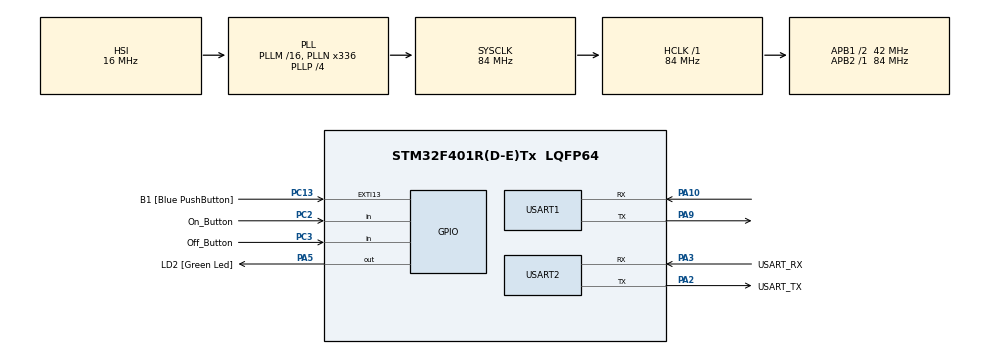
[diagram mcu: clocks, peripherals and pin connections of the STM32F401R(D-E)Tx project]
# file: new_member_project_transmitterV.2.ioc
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Mcu.Family=STM32F4
Mcu.Name=STM32F401R(D-E)Tx
Mcu.Package=LQFP64
NVIC.PriorityGroup=NVIC_PRIORITYGROUP_0
PA10.Mode=Asynchronous
PA10.Signal=USART1_RX
PA13.GPIO_Label=TMS
PA13.Mode=Serial_Wire
PA13.Signal=SYS_JTMS-SWDIO
PA14.GPIO_Label=TCK
PA14.Mode=Serial_Wire
PA14.Signal=SYS_JTCK-SWCLK
PA2.GPIO_Label=USART_TX
PA2.GPIO_Mode=GPIO_MODE_AF_PP
PA2.GPIO_PuPd=GPIO_NOPULL
PA2.GPIO_Speed=GPIO_SPEED_FREQ_LOW
PA2.Mode=Asynchronous
PA2.Signal=USART2_TX
PA3.GPIO_Label=USART_RX
PA3.GPIO_Mode=GPIO_MODE_AF_PP
PA3.GPIO_PuPd=GPIO_NOPULL
PA3.GPIO_Speed=GPIO_SPEED_FREQ_LOW
PA3.Mode=Asynchronous
PA3.Signal=USART2_RX
PA5.GPIO_Label=LD2 [Green Led]
PA5.GPIO_Mode=GPIO_MODE_OUTPUT_PP
PA5.GPIO_PuPd=GPIO_NOPULL
PA5.GPIO_Speed=GPIO_SPEED_FREQ_LOW
PA5.Signal=GPIO_Output
PA9.Mode=Asynchronous
PA9.Signal=USART1_TX
PB3.GPIO_Label=SWO
PB3.Signal=SYS_JTDO-SWO
PC13-ANTI_TAMP.GPIO_Label=B1 [Blue PushButton]
PC13-ANTI_TAMP.GPIO_ModeDefaultEXTI=GPIO_MODE_IT_FALLING
PC13-ANTI_TAMP.GPIO_PuPd=GPIO_NOPULL
PC13-ANTI_TAMP.Signal=GPXTI13
PC14-OSC32_IN.Mode=LSE-External-Oscillator
PC14-OSC32_IN.Signal=RCC_OSC32_IN
PC15-OSC32_OUT.Mode=LSE-External-Oscillator
PC15-OSC32_OUT.Signal=RCC_OSC32_OUT
PC2.GPIO_Label=On_Button
PC2.GPIO_PuPd=GPIO_PULLUP
PC2.Signal=GPIO_Input
PC3.GPIO_Label=Off_Button
PC3.GPIO_PuPd=GPIO_PULLUP
PC3.Signal=GPIO_Input
PH0\ -\ OSC_IN.Mode=HSE-External-Clock-Source
PH0\ -\ OSC_IN.Signal=RCC_OSC_IN
PH1\ -\ OSC_OUT.Mode=HSE-External-Clock-Source
PH1\ -\ OSC_OUT.Signal=RCC_OSC_OUT
ProjectManager.HeapSize=0x200
ProjectManager.StackSize=0x400
ProjectManager.TargetToolchain=STM32CubeIDE
RCC.48MHZClocksFreq_Value=48000000
RCC.AHBFreq_Value=84000000
RCC.APB1CLKDivider=RCC_HCLK_DIV2
RCC.APB1Freq_Value=42000000
RCC.APB1TimFreq_Value=84000000
RCC.APB2Freq_Value=84000000
RCC.APB2TimFreq_Value=84000000
RCC.CortexFreq_Value=84000000
RCC.HCLKFreq_Value=84000000
RCC.HSE_VALUE=8000000
RCC.HSI_VALUE=16000000
RCC.PLLN=336
RCC.PLLP=RCC_PLLP_DIV4
RCC.PLLQ=7
RCC.SYSCLKFreq_VALUE=84000000
RCC.SYSCLKSource=RCC_SYSCLKSOURCE_PLLCLK
RCC.VCOOutputFreq_Value=336000000
USART1.VirtualMode=VM_ASYNC
USART2.VirtualMode=VM_ASYNC
board=NUCLEO-F401RE

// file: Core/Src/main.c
/* USER CODE BEGIN Header */
/**
  ******************************************************************************
  * @file           : main.c
  * @brief          : Main program body
  ******************************************************************************
  * @attention
  *
  * Copyright (c) 2024 STMicroelectronics.
  * All rights reserved.
  *
  * This software is licensed under terms that can be found in the LICENSE file
  * in the root directory of this software component.
  * If no LICENSE file comes with this software, it is provided AS-IS.
  *
  ******************************************************************************
  */
/* USER CODE END Header */
#include "main.h"

/* USER CODE BEGIN Includes */
#include "stdbool.h"
/* USER CODE END Includes */

UART_HandleTypeDef huart1;
UART_HandleTypeDef huart2;

void SystemClock_Config(void);
static void MX_GPIO_Init(void);
static void MX_USART2_UART_Init(void);
static void MX_USART1_UART_Init(void);

int main(void)
{

  /* MCU Configuration--------------------------------------------------------*/

  /* Reset of all peripherals, Initializes the Flash interface and the Systick. */
  HAL_Init();

  /* Configure the system clock */
  SystemClock_Config();

  /* Initialize all configured peripherals */
  MX_GPIO_Init();
  MX_USART2_UART_Init();
  MX_USART1_UART_Init();
  /* USER CODE BEGIN 2 */

  uint8_t messagebuffer[1]; // single element array of type uint8_t

  void tick_on_button () {
  	  //send UART "on" message on button pressdown

  	  messagebuffer[0] = 1; //for on
  	  HAL_UART_Transmit(&huart1, messagebuffer, 1, 10);
  	  HAL_GPIO_TogglePin(LD2_GPIO_Port, LD2_Pin);
  	  HAL_Delay(500);

  }

  void tick_off_button () {
  	  //send UART "off" message on button pressdown

  	  messagebuffer[0] = 0; //for off
  	  HAL_UART_Transmit(&huart1, messagebuffer, 1, 10);
  	  HAL_GPIO_TogglePin(LD2_GPIO_Port, LD2_Pin);
  	  HAL_Delay(500);

   }

  /* USER CODE END 2 */

  /* Infinite loop */
  /* USER CODE BEGIN WHILE */

  	//on button
 bool onBtn_prevState = 0; // 0 is for off and 1 is for on
 bool onBtn_currState = 0;

  	  //off button
 bool offBtn_prevState = 0; // 0 is for off and 1 is for on
 bool offBtn_currState = 0;

  while (1)
  {
    /* USER CODE END WHILE */

    /* USER CODE BEGIN 3 */
	 onBtn_currState = HAL_GPIO_ReadPin(On_Button_GPIO_Port, On_Button_Pin);
	 offBtn_currState = HAL_GPIO_ReadPin(Off_Button_GPIO_Port, Off_Button_Pin);

	 if (onBtn_currState != onBtn_prevState) {
		tick_on_button();
	 }

	 if (offBtn_currState != offBtn_prevState) {
		tick_off_button();
	 }

	 offBtn_prevState = offBtn_currState;
	 onBtn_prevState = onBtn_currState;

  }
  /* USER CODE END 3 */

}

void SystemClock_Config(void)
{
  RCC_OscInitTypeDef RCC_OscInitStruct = {0};
  RCC_ClkInitTypeDef RCC_ClkInitStruct = {0};

  /** Configure the main internal regulator output voltage
  */
  __HAL_RCC_PWR_CLK_ENABLE();
  __HAL_PWR_VOLTAGESCALING_CONFIG(PWR_REGULATOR_VOLTAGE_SCALE2);

  /** Initializes the RCC Oscillators according to the specified parameters
  * in the RCC_OscInitTypeDef structure.
  */
  RCC_OscInitStruct.OscillatorType = RCC_OSCILLATORTYPE_HSI;
  RCC_OscInitStruct.HSIState = RCC_HSI_ON;
  RCC_OscInitStruct.HSICalibrationValue = RCC_HSICALIBRATION_DEFAULT;
  RCC_OscInitStruct.PLL.PLLState = RCC_PLL_ON;
  RCC_OscInitStruct.PLL.PLLSource = RCC_PLLSOURCE_HSI;
  RCC_OscInitStruct.PLL.PLLM = 16;
  RCC_OscInitStruct.PLL.PLLN = 336;
  RCC_OscInitStruct.PLL.PLLP = RCC_PLLP_DIV4;
  RCC_OscInitStruct.PLL.PLLQ = 7;
  if (HAL_RCC_OscConfig(&RCC_OscInitStruct) != HAL_OK)
  {
    Error_Handler();
  }

  /** Initializes the CPU, AHB and APB buses clocks
  */
  RCC_ClkInitStruct.ClockType = RCC_CLOCKTYPE_HCLK|RCC_CLOCKTYPE_SYSCLK
                              |RCC_CLOCKTYPE_PCLK1|RCC_CLOCKTYPE_PCLK2;
  RCC_ClkInitStruct.SYSCLKSource = RCC_SYSCLKSOURCE_PLLCLK;
  RCC_ClkInitStruct.AHBCLKDivider = RCC_SYSCLK_DIV1;
  RCC_ClkInitStruct.APB1CLKDivider = RCC_HCLK_DIV2;
  RCC_ClkInitStruct.APB2CLKDivider = RCC_HCLK_DIV1;

  if (HAL_RCC_ClockConfig(&RCC_ClkInitStruct, FLASH_LATENCY_2) != HAL_OK)
  {
    Error_Handler();
  }
}

static void MX_USART1_UART_Init(void)
{

  huart1.Instance = USART1;
  huart1.Init.BaudRate = 115200;
  huart1.Init.WordLength = UART_WORDLENGTH_8B;
  huart1.Init.StopBits = UART_STOPBITS_1;
  huart1.Init.Parity = UART_PARITY_NONE;
  huart1.Init.Mode = UART_MODE_TX_RX;
  huart1.Init.HwFlowCtl = UART_HWCONTROL_NONE;
  huart1.Init.OverSampling = UART_OVERSAMPLING_16;
  if (HAL_UART_Init(&huart1) != HAL_OK)
  {
    Error_Handler();
  }

}

static void MX_USART2_UART_Init(void)
{

  huart2.Instance = USART2;
  huart2.Init.BaudRate = 115200;
  huart2.Init.WordLength = UART_WORDLENGTH_8B;
  huart2.Init.StopBits = UART_STOPBITS_1;
  huart2.Init.Parity = UART_PARITY_NONE;
  huart2.Init.Mode = UART_MODE_TX_RX;
  huart2.Init.HwFlowCtl = UART_HWCONTROL_NONE;
  huart2.Init.OverSampling = UART_OVERSAMPLING_16;
  if (HAL_UART_Init(&huart2) != HAL_OK)
  {
    Error_Handler();
  }

}

static void MX_GPIO_Init(void)
{
  GPIO_InitTypeDef GPIO_InitStruct = {0};

  /* GPIO Ports Clock Enable */
  __HAL_RCC_GPIOC_CLK_ENABLE();
  __HAL_RCC_GPIOH_CLK_ENABLE();
  __HAL_RCC_GPIOA_CLK_ENABLE();
  __HAL_RCC_GPIOB_CLK_ENABLE();

  /*Configure GPIO pin Output Level */
  HAL_GPIO_WritePin(LD2_GPIO_Port, LD2_Pin, GPIO_PIN_RESET);

  /*Configure GPIO pin : B1_Pin */
  GPIO_InitStruct.Pin = B1_Pin;
  GPIO_InitStruct.Mode = GPIO_MODE_IT_FALLING;
  GPIO_InitStruct.Pull = GPIO_NOPULL;
  HAL_GPIO_Init(B1_GPIO_Port, &GPIO_InitStruct);

  /*Configure GPIO pins : On_Button_Pin Off_Button_Pin */
  GPIO_InitStruct.Pin = On_Button_Pin|Off_Button_Pin;
  GPIO_InitStruct.Mode = GPIO_MODE_INPUT;
  GPIO_InitStruct.Pull = GPIO_PULLUP;
  HAL_GPIO_Init(GPIOC, &GPIO_InitStruct);

  /*Configure GPIO pin : LD2_Pin */
  GPIO_InitStruct.Pin = LD2_Pin;
  GPIO_InitStruct.Mode = GPIO_MODE_OUTPUT_PP;
  GPIO_InitStruct.Pull = GPIO_NOPULL;
  GPIO_InitStruct.Speed = GPIO_SPEED_FREQ_LOW;
  HAL_GPIO_Init(LD2_GPIO_Port, &GPIO_InitStruct);

}

void Error_Handler(void)
{
  __disable_irq();
  while (1)
  {
  }
}
